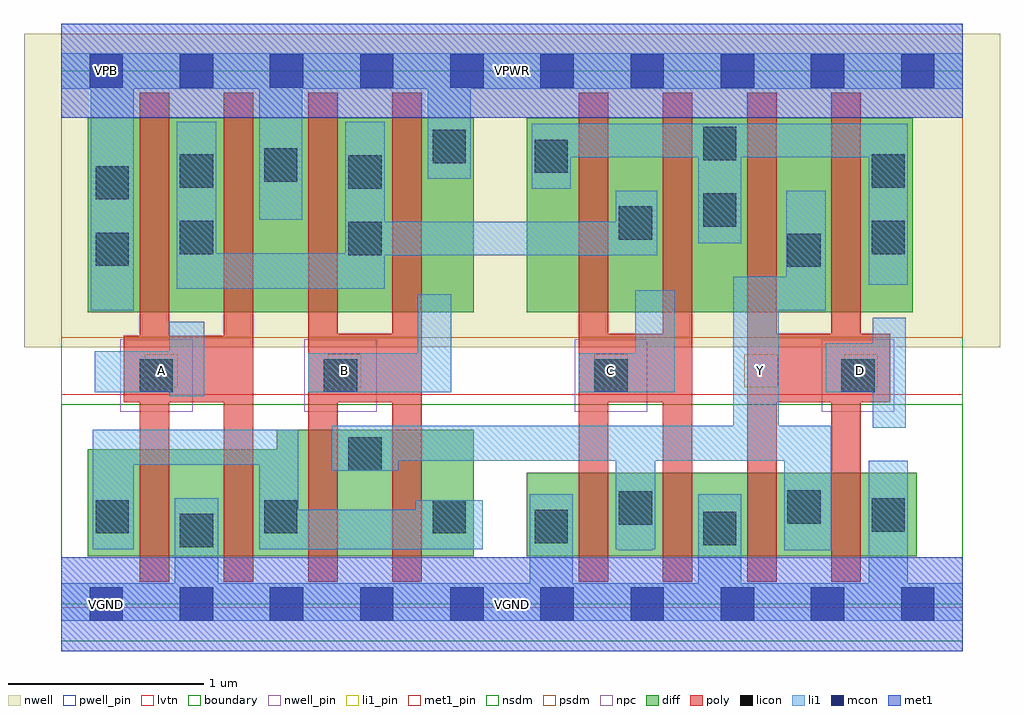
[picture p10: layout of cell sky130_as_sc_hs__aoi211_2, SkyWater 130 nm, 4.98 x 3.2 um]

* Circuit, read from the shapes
.subckt sky130_as_sc_hs__aoi211_2 A B C D VGND VNB VPB VPWR Y
XM1 VGND A n1 VNB sky130_fd_pr__nfet_01v8_lvt w=0.545 l=0.15 m=2
XM2 Y B n1 VNB sky130_fd_pr__nfet_01v8_lvt w=0.645 l=0.15 m=2
XM3 Y C VGND VNB sky130_fd_pr__nfet_01v8_lvt w=0.425 l=0.15 m=2
XM4 Y D VGND VNB sky130_fd_pr__nfet_01v8_lvt w=0.425 l=0.15 m=2
XM5 n2 A VPWR VPB sky130_fd_pr__pfet_01v8 w=0.99 l=0.15 m=2
XM6 n2 B VPWR VPB sky130_fd_pr__pfet_01v8 w=0.99 l=0.15 m=2
XM7 n2 C n3 VPB sky130_fd_pr__pfet_01v8 w=0.99 l=0.15 m=2
XM8 Y D n3 VPB sky130_fd_pr__pfet_01v8 w=0.99 l=0.15 m=2
.ends

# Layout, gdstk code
import gdstk
lib = gdstk.Library(unit=1e-6, precision=1e-09)
def R(c, l, rs):  # rectangles x0, y0, x1, y1
    for r in rs: c.add(gdstk.rectangle(r[:2], r[2:], *l))
def A(c, l, x, y, w, h, nx, ny, dx, dy):  # array of equal rectangles
    R(c, l, [(x+i*dx, y+j*dy, x+i*dx+w, y+j*dy+h) for i in range(nx) for j in range(ny)])
nwell_pin = (64, 16)
nwell = (64, 20)
diff = (65, 20)
poly = (66, 20)
licon = (66, 44)
li1_pin = (67, 16)
li1 = (67, 20)
mcon = (67, 44)
met1_pin = (68, 16)
met1 = (68, 20)
nsdm = (93, 44)
psdm = (94, 20)
npc = (95, 20)
pwell_pin = (122, 16)
lvtn = (125, 44)
boundary = (235, 4)

sky130_as_sc_hs__aoi211_ = lib.new_cell('sky130_as_sc_hs__aoi211_2')
R(sky130_as_sc_hs__aoi211_, nwell_pin, [(0.145,2.635,0.315,2.805)])
R(sky130_as_sc_hs__aoi211_, nwell, [(-0.19,1.31,4.79,2.91)])
R(sky130_as_sc_hs__aoi211_, diff, [(0.135,0.245,2.105,0.79), (2.375,0.245,4.365,0.67), (1.1,0.79,2.105,0.89), (0.135,1.49,2.105,2.48), (2.375,1.49,4.345,2.48)])
A(sky130_as_sc_hs__aoi211_, poly, 0.4, 0.115, 0.15, 0.915, 4, 1, 0.43, 0)
A(sky130_as_sc_hs__aoi211_, poly, 2.64, 0.115, 0.15, 0.915, 4, 1, 0.43, 0)
A(sky130_as_sc_hs__aoi211_, poly, 2.64, 1.38, 0.15, 1.23, 4, 1, 0.43, 0)
R(sky130_as_sc_hs__aoi211_, poly, [(0.32,1.03,0.98,1.37), (1.26,1.03,1.84,1.38), (2.64,1.03,3.22,1.38), (3.5,1.03,4.23,1.38), (0.4,1.37,0.55,2.61), (0.83,1.37,0.98,2.61), (1.26,1.38,1.41,2.61), (1.69,1.38,1.84,2.61)])
A(sky130_as_sc_hs__aoi211_, licon, 0.175, 0.36, 0.17, 0.17, 3, 1, 0.86, 0)
R(sky130_as_sc_hs__aoi211_, licon, [(0.605,0.29,0.775,0.46), (3.275,0.3,3.445,0.47), (2.415,0.31,2.585,0.48), (4.135,0.37,4.305,0.54), (2.845,0.405,3.015,0.575), (3.705,0.41,3.875,0.58), (1.465,0.68,1.635,0.85), (0.4,1.08,0.57,1.25), (1.34,1.08,1.51,1.25), (2.72,1.08,2.89,1.25), (3.98,1.08,4.15,1.25), (3.705,1.72,3.875,1.89), (0.175,1.725,0.345,1.895), (1.465,1.78,1.635,1.95), (0.605,1.785,0.775,1.955), (4.135,1.785,4.305,1.955), (2.845,1.86,3.015,2.03), (3.275,1.925,3.445,2.095), (0.175,2.065,0.345,2.235), (1.465,2.12,1.635,2.29), (0.605,2.125,0.775,2.295), (4.135,2.125,4.305,2.295), (1.035,2.155,1.205,2.325), (2.415,2.2,2.585,2.37), (1.895,2.25,2.065,2.42), (3.275,2.265,3.445,2.435)])
R(sky130_as_sc_hs__aoi211_, li1_pin, [(0.425,1.105,0.595,1.275), (1.36,1.105,1.53,1.275), (2.72,1.105,2.89,1.275), (3.485,1.105,3.655,1.275), (3.995,1.105,4.165,1.275)])
R(sky130_as_sc_hs__aoi211_, li1, [(0,-0.085,4.6,0.105), (0.58,0.105,0.8,0.54), (2.39,0.105,2.61,0.56), (3.25,0.105,3.47,0.56), (4.12,0.105,4.32,0.73), (2.845,0.275,3.015,0.28), (3.69,0.275,3.93,0.73), (0.16,0.28,0.37,0.71), (1.01,0.28,2.15,0.48), (2.83,0.28,3.03,0.73), (1.01,0.48,1.21,0.71), (1.81,0.48,2.15,0.53), (1.38,0.68,1.72,0.73), (0.16,0.71,1.21,0.89), (1.38,0.73,3.93,0.91), (4.14,0.9,4.31,1.08), (3.43,0.91,3.66,1.5), (0.55,1.06,0.73,1.08), (0.17,1.08,0.73,1.29), (1.26,1.08,1.99,1.28), (2.64,1.08,3.13,1.28), (3.9,1.08,4.31,1.33), (1.82,1.28,1.99,1.58), (2.93,1.28,3.13,1.6), (0.55,1.29,0.73,1.44), (4.14,1.33,4.31,1.46), (0.15,1.5,0.37,2.63), (3.43,1.5,3.9,1.67), (0.59,1.61,1.65,1.78), (4.12,1.63,4.32,2.28), (3.7,1.67,3.9,2.11), (0.59,1.78,3.04,1.79), (0.59,1.79,0.79,2.46), (1.45,1.79,3.04,1.95), (3.25,1.84,3.47,2.28), (1.45,1.95,1.65,2.46), (2.83,1.95,3.04,2.11), (1.01,1.96,1.23,2.63), (2.4,2.12,2.6,2.28), (1.87,2.17,2.09,2.63), (2.4,2.28,4.32,2.45), (0,2.63,4.6,2.81)])
A(sky130_as_sc_hs__aoi211_, mcon, 0.145, -0.085, 0.17, 0.17, 10, 2, 0.46, 2.72)
R(sky130_as_sc_hs__aoi211_, met1_pin, [(0,-0.24,4.6,0.24), (0.145,-0.085,0.315,0.085), (0,2.48,4.6,2.96), (0.145,2.635,0.315,2.805)])
R(sky130_as_sc_hs__aoi211_, met1, [(0,-0.24,4.6,0.24), (0,2.48,4.6,2.96)])
R(sky130_as_sc_hs__aoi211_, nsdm, [(0,-0.19,4.6,1.02)])
R(sky130_as_sc_hs__aoi211_, psdm, [(0,1.36,4.6,2.91)])
R(sky130_as_sc_hs__aoi211_, npc, [(0.3,0.98,0.67,1.35), (1.24,0.98,1.61,1.35), (2.62,0.98,2.99,1.35), (3.88,0.98,4.25,1.35)])
R(sky130_as_sc_hs__aoi211_, pwell_pin, [(0.145,-0.085,0.315,0.085)])
R(sky130_as_sc_hs__aoi211_, lvtn, [(0,-0.02,4.6,1.07)])
R(sky130_as_sc_hs__aoi211_, boundary, [(0,0,4.6,2.72)])
sky130_as_sc_hs__aoi211_.add(gdstk.Label('VPB', (0.23,2.72), layer=64, texttype=5))
sky130_as_sc_hs__aoi211_.add(gdstk.Label('VPB', (0.23,2.72), layer=64, texttype=5))
sky130_as_sc_hs__aoi211_.add(gdstk.Label('VGND', (0.23,0), layer=68, texttype=5))
sky130_as_sc_hs__aoi211_.add(gdstk.Label('VGND', (2.3,0), layer=68, texttype=5))
sky130_as_sc_hs__aoi211_.add(gdstk.Label('VPWR', (0.23,2.72), layer=68, texttype=5))
sky130_as_sc_hs__aoi211_.add(gdstk.Label('VPWR', (2.3,2.72), layer=68, texttype=5))
sky130_as_sc_hs__aoi211_.add(gdstk.Label('VNB', (0.23,0), layer=64, texttype=59))
sky130_as_sc_hs__aoi211_.add(gdstk.Label('VNB', (0.23,0), layer=64, texttype=59))
sky130_as_sc_hs__aoi211_.add(gdstk.Label('D', (4.08,1.19), layer=67, texttype=5))
sky130_as_sc_hs__aoi211_.add(gdstk.Label('D', (4.08,1.19), layer=67, texttype=5))
sky130_as_sc_hs__aoi211_.add(gdstk.Label('C', (2.805,1.19), layer=67, texttype=5))
sky130_as_sc_hs__aoi211_.add(gdstk.Label('C', (2.805,1.19), layer=67, texttype=5))
sky130_as_sc_hs__aoi211_.add(gdstk.Label('Y', (3.57,1.19), layer=67, texttype=5))
sky130_as_sc_hs__aoi211_.add(gdstk.Label('Y', (3.57,1.19), layer=67, texttype=5))
sky130_as_sc_hs__aoi211_.add(gdstk.Label('B', (1.445,1.19), layer=67, texttype=5))
sky130_as_sc_hs__aoi211_.add(gdstk.Label('B', (1.445,1.19), layer=67, texttype=5))
sky130_as_sc_hs__aoi211_.add(gdstk.Label('A', (0.51,1.19), layer=67, texttype=5))
sky130_as_sc_hs__aoi211_.add(gdstk.Label('A', (0.51,1.19), layer=67, texttype=5))

lib.write_gds('sky130_as_sc_hs__aoi211_2.gds')
